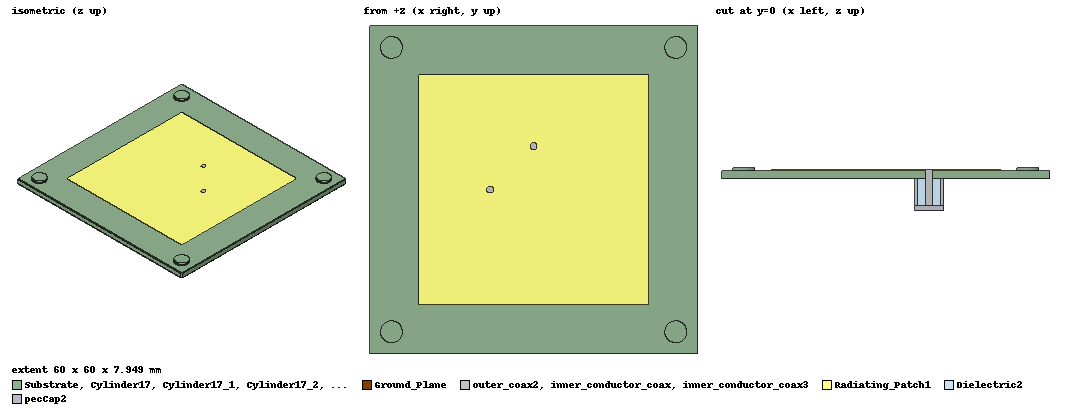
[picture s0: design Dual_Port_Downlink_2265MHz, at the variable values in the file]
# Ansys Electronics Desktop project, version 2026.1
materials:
  vacuum: permittivity=1
  Rogers RT/duroid 5880 (tm): permittivity=2.2 dielectric_loss_tangent=0.0009
  Teflon (tm): permittivity=2.1 dielectric_loss_tangent=0.001
  air: permittivity=1.0006 permeability=1.0000004
  copper: permeability=0.999991 conductivity=58000000
  pec: conductivity=1e+30

design Dual_Port_Downlink_2265MHz (HFSS, HFSS Terminal Network, model units mm)
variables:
  inner_conductor_height = 5.035mm
  feed_y = -feed_length
  substrate_thickness = 1.524mm
  feed_length = A*patch_height
  patch_thickness = 0.07mm
  feed_x = 0
  patch_width = 42mm
  patch_height = patch_width
  substrate_length = 60mm
  A = 0.19
  inner_conductor_radius = 0.635mm
  ground_plane_thickness = 0.07mm
  substrate_widtrh = 60mm
  dieletric_radius = 2.1mm
  outer_radius = 2.6mm
  outer_coax_height = 5.035mm
  ground_plane_width = substrate_widtrh
  ground_plane_length = substrate_length
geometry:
  Substrate [Rogers RT/duroid 5880 (tm)] = box(corner=(-substrate_length/2, -substrate_widtrh/2, 0mm), size=(substrate_length, substrate_widtrh, substrate_thickness))
  Cylinder5 = cylinder(axis=Z, base_centre=(feed_x, feed_y, -ground_plane_thickness+0.07mm), radius=inner_conductor_radius, height=inner_conductor_height+0.07mm+substrate_thickness-0.07mm)
  Cylinder5_1 = Cylinder5.copy()
  Substrate.subtract(Cylinder5_1)
  Substrate.rotate(axis=X, angle=180deg)
  inner_conductor_coax3 [pec] = cylinder(axis=Z, base_centre=(feed_y, feed_x, -patch_thickness), radius=inner_conductor_radius, height=inner_conductor_height+0.07mm+substrate_thickness)
  inner_conductor_coax3.rotate(axis=X, angle=180deg)
  inner_conductor_coax3_1 = inner_conductor_coax3.copy()
  inner_conductor_coax3_2 = inner_conductor_coax3.copy()
  inner_conductor_coax3_3 = inner_conductor_coax3.copy()
  Substrate.subtract(inner_conductor_coax3_3)
  Cylinder17 [Teflon (tm)] = cylinder(axis=Z, base_centre=(-30mm, -30mm, 0mm), radius=1.2mm, height=-1mm)
  Cylinder17.move(4mm, 4mm, 0mm)
  Cylinder17_1 [Teflon (tm)] = Cylinder17.duplicate_around_axis(axis=Z, angle=90deg, total=2)
  Cylinder17_2 [Teflon (tm)] = Cylinder17.duplicate_around_axis(axis=Z, angle=180deg, total=2)
  Cylinder17_3 [Teflon (tm)] = Cylinder17.duplicate_around_axis(axis=Z, angle=270deg, total=2)
  Cylinder17_4 = Cylinder17.copy()
  Cylinder17_5 = Cylinder17.copy()
  Cylinder17_6 = Cylinder17.copy()
  Cylinder17_1_1 = Cylinder17_1.copy()
  Cylinder17_1_2 = Cylinder17_1.copy()
  Cylinder17_1_3 = Cylinder17_1.copy()
  Cylinder17_2_1 = Cylinder17_2.copy()
  Cylinder17_2_2 = Cylinder17_2.copy()
  Cylinder17_2_3 = Cylinder17_2.copy()
  Cylinder17_3_1 = Cylinder17_3.copy()
  Cylinder17_3_2 = Cylinder17_3.copy()
  Cylinder17_3_3 = Cylinder17_3.copy()
  Substrate.subtract(Cylinder17_6, Cylinder17_1_3, Cylinder17_2_3, Cylinder17_3_3)
  outer_coax [pec] = cylinder(axis=Z, base_centre=(feed_x, feed_y, substrate_thickness), radius=outer_radius, height=outer_coax_height)
  Cylinder6 = cylinder(axis=Z, base_centre=(feed_x, feed_y, substrate_thickness), radius=dieletric_radius, height=outer_coax_height)
  Cylinder7 = cylinder(axis=Z, base_centre=(feed_x, feed_y, -ground_plane_thickness), radius=inner_conductor_radius, height=inner_conductor_height+0.07mm+substrate_thickness)
  Cylinder5_4 = Cylinder7.copy()
  Cylinder6.subtract(Cylinder5_4)
  outer_coax.subtract(Cylinder6)
  Cylinder7.delete()
  Cylinder8 = cylinder(axis=Z, base_centre=(feed_x, feed_y, -0.035mm), radius=inner_conductor_radius, height=inner_conductor_height+substrate_thickness+ground_plane_thickness+ground_plane_thickness)
  outer_coax.subtract(Cylinder8)
  outer_coax.rotate(axis=X, angle=180deg)
  Dielectric [air] = cylinder(axis=Z, base_centre=(feed_x, feed_y, substrate_thickness), radius=dieletric_radius, height=5.035mm)
  Cylinder5_2 = Cylinder5.copy()
  Cylinder5_3 = Cylinder5.copy()
  Dielectric.subtract(Cylinder5_3)
  Cylinder5.delete()
  Dielectric.rotate(axis=X, angle=180deg)
  Ground_Plane [copper] = box(corner=(-substrate_length/2, -substrate_widtrh/2, substrate_thickness), size=(ground_plane_length, ground_plane_width, ground_plane_thickness))
  Ground_Plane.subtract(Cylinder5_2)
  Dielectric1 = cylinder(axis=Z, base_centre=(feed_x, feed_y, substrate_thickness), radius=dieletric_radius, height=outer_coax_height)
  Cylinder12 = cylinder(axis=Z, base_centre=(feed_x, feed_y, -ground_plane_thickness), radius=inner_conductor_radius, height=inner_conductor_height+0.07mm+substrate_thickness)
  Cylinder5_6 = Cylinder12.copy()
  Dielectric1.subtract(Cylinder5_6)
  outer_coax1 = cylinder(axis=Z, base_centre=(feed_x, feed_y, substrate_thickness), radius=outer_radius, height=outer_coax_height)
  Cylinder9 = cylinder(axis=Z, base_centre=(feed_x, feed_y, substrate_thickness+ground_plane_thickness), radius=dieletric_radius, height=outer_coax_height)
  Cylinder10 = cylinder(axis=Z, base_centre=(feed_x, feed_y, -0.035mm), radius=inner_conductor_radius, height=inner_conductor_height+0.87mm)
  Cylinder5_5 = Cylinder10.copy()
  Cylinder9.subtract(Cylinder5_5)
  outer_coax1.subtract(Cylinder9)
  Cylinder11 = cylinder(axis=Z, base_centre=(feed_x, feed_y, -ground_plane_thickness), radius=inner_conductor_radius, height=inner_conductor_height+substrate_thickness+ground_plane_thickness+ground_plane_thickness)
  outer_coax1.subtract(Cylinder11)
  Ground_Plane.subtract(Dielectric1, outer_coax1)
  [Cylinder10, Cylinder12].delete()
  Ground_Plane.rotate(axis=X, angle=180deg)
  Ground_Plane.subtract(inner_conductor_coax3_2)
  outer_coax2 [pec] = cylinder(axis=Z, base_centre=(feed_y, feed_x, substrate_thickness), radius=outer_radius, height=outer_coax_height)
  Cylinder14 = cylinder(axis=Z, base_centre=(feed_x, feed_y, substrate_thickness), radius=dieletric_radius, height=outer_coax_height)
  Cylinder15 = cylinder(axis=Z, base_centre=(feed_x, feed_y, -ground_plane_thickness), radius=inner_conductor_radius, height=inner_conductor_height+0.07mm+substrate_thickness)
  Cylinder5_8 = Cylinder15.copy()
  Cylinder14.subtract(Cylinder5_8)
  outer_coax2.subtract(Cylinder14)
  Cylinder16 = cylinder(axis=Z, base_centre=(feed_x, feed_y, -0.035mm), radius=inner_conductor_radius, height=inner_conductor_height+substrate_thickness+ground_plane_thickness+ground_plane_thickness)
  outer_coax2.subtract(Cylinder16)
  outer_coax2.rotate(axis=X, angle=180deg)
  outer_coax2_1 = outer_coax2.copy()
  Ground_Plane.subtract(outer_coax2_1)
  Cylinder15.delete()
  Ground_Plane.subtract(Cylinder17_4, Cylinder17_1_1, Cylinder17_2_1, Cylinder17_3_1)
  inner_conductor_coax [pec] = cylinder(axis=Z, base_centre=(feed_x, feed_y, -patch_thickness), radius=inner_conductor_radius, height=inner_conductor_height+0.07mm+substrate_thickness)
  inner_conductor_coax.rotate(axis=X, angle=180deg)
  Feed = circle(normal=Z, centre=(feed_x, feed_y, 5mm+substrate_thickness+0.035mm), radius=outer_radius)
  Feed.rotate(axis=X, angle=180deg)
  pecCap1 [pec] = sweep_along_normal(Feed.face(at (0, 7.98, -6.559)), length=0.41mm)
  Radiating_Patch1 [copper] = rectangle(corner=(-patch_height/2, -patch_width/2, -patch_thickness), x_size=patch_height, y_size=patch_width)
  Radiating_Patch1.thicken(0.07mm)
  Radiating_Patch1.rotate(axis=X, angle=180deg)
  inner_conductor_coax2 = cylinder(axis=Z, base_centre=(feed_x, feed_y, -patch_thickness), radius=inner_conductor_radius, height=inner_conductor_height+0.07mm+substrate_thickness)
  inner_conductor_coax2.rotate(axis=X, angle=180deg)
  Radiating_Patch1.subtract(inner_conductor_coax2)
  Radiating_Patch1.subtract(inner_conductor_coax3_1)
  Radiating_Patch1.subtract(Cylinder17_5, Cylinder17_1_2, Cylinder17_2_2, Cylinder17_3_2)
  inner_conductor_coax3_4 = inner_conductor_coax3.copy()
  outer_coax2.subtract(inner_conductor_coax3_4)
  Dielectric2 [air] = cylinder(axis=Z, base_centre=(feed_y, feed_x, substrate_thickness), radius=dieletric_radius, height=5.035mm)
  Cylinder13 = cylinder(axis=Z, base_centre=(feed_x, feed_y, -ground_plane_thickness+0.07mm), radius=inner_conductor_radius, height=inner_conductor_height+0.07mm+substrate_thickness-0.07mm)
  Cylinder5_7 = Cylinder13.copy()
  Dielectric2.subtract(Cylinder5_7)
  Dielectric2.rotate(axis=X, angle=180deg)
  Dielectric2_1 = Dielectric2.copy()
  outer_coax2.subtract(Dielectric2_1)
  Cylinder13.delete()
  inner_conductor_coax3_5 = inner_conductor_coax3.copy()
  Dielectric2.subtract(inner_conductor_coax3_5)
  Feed1 = circle(normal=Z, centre=(feed_y, feed_x, 5mm+substrate_thickness+0.035mm), radius=outer_radius)
  Feed1.rotate(axis=X, angle=180deg)
  pecCap2 [pec] = sweep_along_normal(Feed1.face(at (-7.98, 0, -6.559)), length=0.89mm)
  Cylinder18 = cylinder(axis=Z, base_centre=(-26mm, -26mm, 0mm), radius=2mm, height=0.5mm)
  Cylinder18_1, Cylinder18_2, Cylinder18_3 = Cylinder18.duplicate_around_axis(axis=Z, angle=90deg, total=4)
  Cylinder17.unite(Cylinder18)
  Cylinder17_1.unite(Cylinder18_1)
  Cylinder17_2.unite(Cylinder18_2)
  Cylinder17_3.unite(Cylinder18_3)
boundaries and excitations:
  PerfE1: Perfect E Objects=Feed
  PerfE2: Perfect E Objects=Feed1
  PerfE3: Perfect E Objects=Ground_Plane
  1: Wave Port Objects=Feed WavePortType=Modal NumModes=1 Modes{Mode1{IntLine{(0, 7.98, -6.559) -> (810.84746mm, 6781.3559mm, -6559mm)} CharImp=Zpi}}
  2: Wave Port Objects=Feed1 WavePortType=Modal NumModes=1 Modes{Mode1{IntLine{(-7.98, 0, -6.559) -> (-6702.5197mm, 49.133858mm, -6559mm)} CharImp=Zpi}}
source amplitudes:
  1:1: 1W 0deg
  2:1: 1W 90deg
